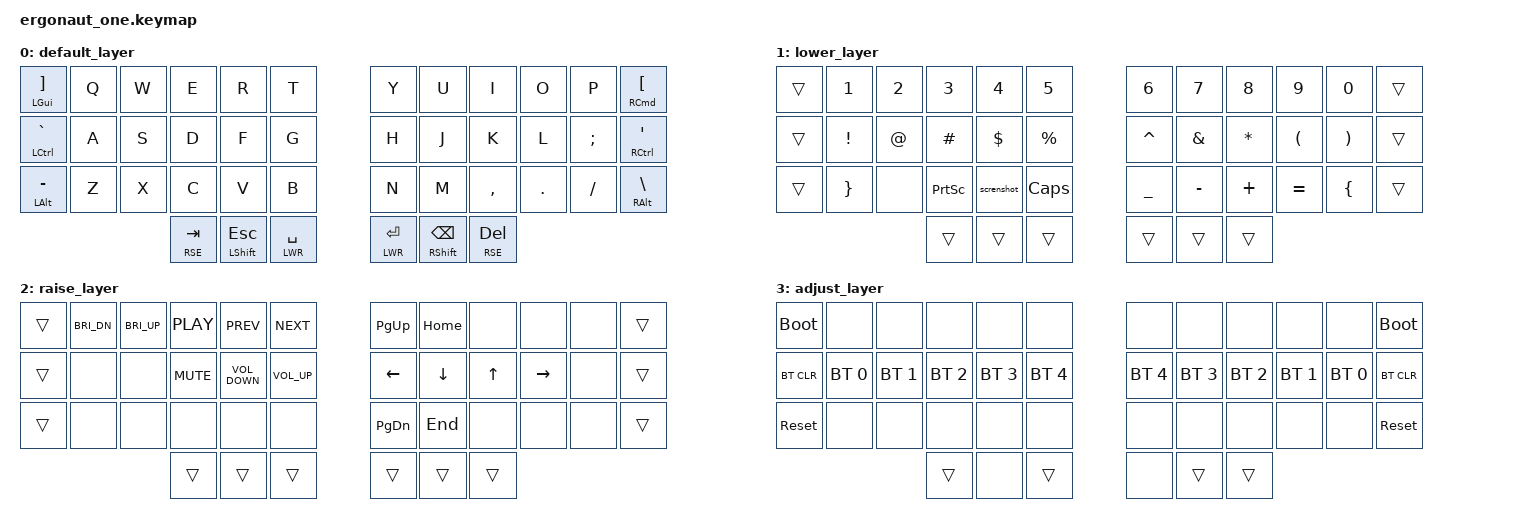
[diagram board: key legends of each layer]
#include <behaviors.dtsi>
#include <dt-bindings/zmk/bt.h>
#include <dt-bindings/zmk/keys.h>

#define DEF 0
#define LWR 1
#define RSE 2
#define ADJ 3

&lt { quick-tap-ms = <200>; };

&mt { quick-tap-ms = <200>; };

/ {
    conditional_layers {
        compatible = "zmk,conditional-layers";

        tri-layer {
            if-layers = <1 2>;
            then-layer = <3>;
        };
    };

    macros {
        screnshot: screnshot {
            compatible = "zmk,behavior-macro";
            #binding-cells = <0>;
            bindings =
                <&macro_press>,
                <&kp LCMD &kp LEFT_SHIFT>,
                <&macro_tap>,
                <&kp NUMBER_5>,
                <&macro_release>,
                <&kp LCMD &kp LEFT_SHIFT>;

            label = "SCRENSHOT";
        };
    };

    keymap {
        compatible = "zmk,keymap";

        default_layer {
            bindings = <
&mt LGUI RBKT    &kp Q  &kp W  &kp E        &kp R          &kp T          &kp Y        &kp U           &kp I        &kp O    &kp P     &mt RCMD LEFT_BRACKET
&mt LCTRL GRAVE  &kp A  &kp S  &kp D        &kp F          &kp G          &kp H        &kp J           &kp K        &kp L    &kp SEMI  &mt RCTRL SQT
&mt LALT MINUS   &kp Z  &kp X  &kp C        &kp V          &kp B          &kp N        &kp M           &kp COMMA    &kp DOT  &kp FSLH  &mt RALT BSLH
                               &lt RSE TAB  &mt LSHFT ESC  &lt LWR SPACE  &lt LWR RET  &mt RSHFT BSPC  &lt RSE DEL
            >;
        };

        lower_layer {
            bindings = <
&trans  &kp NUMBER_1     &kp NUMBER_2  &kp NUMBER_3  &kp NUMBER_4  &kp NUMBER_5  &kp NUMBER_6  &kp NUMBER_7  &kp NUMBER_8  &kp NUMBER_9  &kp NUMBER_0    &trans
&trans  &kp EXCL         &kp AT        &kp HASH      &kp DLLR      &kp PRCNT     &kp CARET     &kp AMPS      &kp STAR      &kp LPAR      &kp RPAR        &trans
&trans  &kp RIGHT_BRACE  &none         &kp PSCRN     &screnshot    &kp CAPS      &kp UNDER     &kp MINUS     &kp PLUS      &kp EQUAL     &kp LEFT_BRACE  &trans
                                       &trans        &trans        &trans        &trans        &trans        &trans
            >;
        };

        raise_layer {
            bindings = <
&trans  &kp C_BRI_DN  &kp C_BRI_UP  &kp C_PLAY  &kp C_PREV         &kp C_NEXT       &kp PAGE_UP    &kp HOME  &none   &none      &none  &trans
&trans  &none         &none         &kp K_MUTE  &kp C_VOLUME_DOWN  &kp C_VOLUME_UP  &kp LEFT       &kp DOWN  &kp UP  &kp RIGHT  &none  &trans
&trans  &none         &none         &none       &none              &none            &kp PAGE_DOWN  &kp END   &none   &none      &none  &trans
                                    &trans      &trans             &trans           &trans         &trans    &trans
            >;
        };

        adjust_layer {
            bindings = <
&bootloader  &none         &none         &none         &none         &none         &none         &none         &none         &none         &none         &bootloader
&bt BT_CLR   &bt BT_SEL 0  &bt BT_SEL 1  &bt BT_SEL 2  &bt BT_SEL 3  &bt BT_SEL 4  &bt BT_SEL 4  &bt BT_SEL 3  &bt BT_SEL 2  &bt BT_SEL 1  &bt BT_SEL 0  &bt BT_CLR
&sys_reset   &none         &none         &none         &none         &none         &none         &none         &none         &none         &none         &sys_reset
                                         &trans        &none         &trans        &none         &trans        &trans
            >;
        };
    };
};
